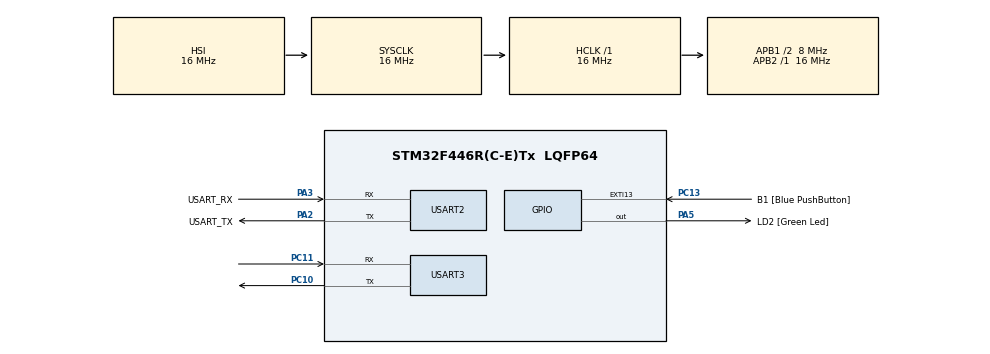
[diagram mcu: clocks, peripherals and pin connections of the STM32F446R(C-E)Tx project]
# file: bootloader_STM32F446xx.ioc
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Mcu.Family=STM32F4
Mcu.Name=STM32F446R(C-E)Tx
Mcu.Package=LQFP64
NVIC.PriorityGroup=NVIC_PRIORITYGROUP_0
PA13.GPIO_Label=TMS
PA13.Mode=Serial_Wire
PA13.Signal=SYS_JTMS-SWDIO
PA14.GPIO_Label=TCK
PA14.Mode=Serial_Wire
PA14.Signal=SYS_JTCK-SWCLK
PA2.GPIO_Label=USART_TX
PA2.Mode=Asynchronous
PA2.Signal=USART2_TX
PA3.GPIO_Label=USART_RX
PA3.Mode=Asynchronous
PA3.Signal=USART2_RX
PA5.GPIO_Label=LD2 [Green Led]
PA5.Signal=GPIO_Output
PB3.GPIO_Label=SWO
PB3.Signal=SYS_JTDO-SWO
PC10.Mode=Asynchronous
PC10.Signal=USART3_TX
PC11.Mode=Asynchronous
PC11.Signal=USART3_RX
PC13.GPIO_Label=B1 [Blue PushButton]
PC13.GPIO_ModeDefaultEXTI=GPIO_MODE_IT_FALLING
PC13.Signal=GPXTI13
PC14-OSC32_IN.Signal=RCC_OSC32_IN
PC15-OSC32_OUT.Signal=RCC_OSC32_OUT
PH0-OSC_IN.Signal=RCC_OSC_IN
PH1-OSC_OUT.Signal=RCC_OSC_OUT
ProjectManager.HeapSize=0x200
ProjectManager.StackSize=0x400
ProjectManager.TargetToolchain=MDK-ARM V5.27
RCC.48MHZClocksFreq_Value=84000000
RCC.AHBFreq_Value=16000000
RCC.APB1CLKDivider=RCC_HCLK_DIV2
RCC.APB1Freq_Value=8000000
RCC.APB1TimFreq_Value=16000000
RCC.APB2Freq_Value=16000000
RCC.APB2TimFreq_Value=16000000
RCC.CortexFreq_Value=16000000
RCC.FLatency-AdvancedSettings=FLASH_LATENCY_0
RCC.HCLKFreq_Value=16000000
RCC.HSE_VALUE=8000000
RCC.HSI_VALUE=16000000
RCC.PLLN=336
RCC.PLLP=RCC_PLLP_DIV4
RCC.SYSCLKFreq_VALUE=16000000
RCC.USBFreq_Value=168000000
RCC.VCOOutputFreq_Value=336000000
USART2.VirtualMode=VM_ASYNC
USART3.VirtualMode=VM_ASYNC
VP_CRC_VS_CRC.Mode=CRC_Activate
board=NUCLEO-F446RE

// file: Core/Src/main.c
/* USER CODE BEGIN Header */
/**
  ******************************************************************************
  * @file           : main.c
  * @brief          : Main program body
  ******************************************************************************
  * @attention
  *
  * <h2><center>&copy; Copyright (c) 2021 STMicroelectronics.
  * All rights reserved.</center></h2>
  *
  * This software component is licensed by ST under BSD 3-Clause license,
  * the "License"; You may not use this file except in compliance with the
  * License. You may obtain a copy of the License at:
  *                        opensource.org/licenses/BSD-3-Clause
  *
  ******************************************************************************
  */
/* USER CODE END Header */
#include <stdarg.h>
#include <string.h>
#include <stdio.h>
#include <stdint.h>

/* USER CODE BEGIN Includes */
#include "main.h"

/* USER CODE END Includes */

/* USER CODE BEGIN PM */
//enable this line to get debug messages over debug uart
//#define BL_DEBUG_MSG_EN

/* USER CODE END PM */

/* USER CODE BEGIN PV */
CRC_HandleTypeDef hcrc;

UART_HandleTypeDef huart2;
UART_HandleTypeDef huart3;

#define D_UART &huart3
#define C_UART &huart2

uint8_t supported_commands[] = {
																BL_GET_VER,
																BL_GET_HELP,
																BL_GET_CID,
																BL_GET_RDP_STATUS,
																BL_GO_TO_ADDR,
																BL_FLASH_ERASE,
																BL_MEM_WRITE,
																BL_READ_SECTOR_P_STATUS };

/* USER CODE END PV */

void SystemClock_Config(void);
static void MX_GPIO_Init(void);
static void MX_USART2_UART_Init(void);
static void MX_CRC_Init(void);
static void MX_USART3_UART_Init(void);

/* USER CODE BEGIN PFP */
static void printmsg(char *format, ...);
/* USER CODE END PFP */

/* USER CODE BEGIN 0 */
char somedata[] = "Hello from Bootloader\r\n";

#define BL_RX_LEN 200
uint8_t bl_rx_buffer[BL_RX_LEN];

/* USER CODE END 0 */

int main(void)
{

  /* MCU Configuration--------------------------------------------------------*/

  /* Reset of all peripherals, Initializes the Flash interface and the Systick. */
  HAL_Init();

  /* Configure the system clock */
  SystemClock_Config();

  /* Initialize all configured peripherals */
  MX_GPIO_Init();
  MX_USART2_UART_Init();
  MX_CRC_Init();
  MX_USART3_UART_Init();
  /* USER CODE BEGIN 2 */

	if(HAL_GPIO_ReadPin(B1_GPIO_Port, B1_Pin) == GPIO_PIN_RESET) {
		printmsg("BL_DEBUG_MSG: Button is pressed .. going to BL mode\n\r");
		//we should continue in bootloader mode
		bootloader_uart_read_data();

	} else {
		printmsg("BL_DEBUG_MSG: Button is not pressed .. executing user app\n\r");
		bootloader_jump_to_user_app();
	}
}

void bootloader_uart_read_data(void) {

	uint8_t rcv_len = 0;

	while(1) {
		memset(bl_rx_buffer, 0, 200);

		//here we will read and decode the commands coming from host

		//Read first byte (Length) of data packet
		HAL_UART_Receive(C_UART, bl_rx_buffer, 1, HAL_MAX_DELAY);
		rcv_len = bl_rx_buffer[0];

		//Read the rest of the data packet
		HAL_UART_Receive(C_UART, &bl_rx_buffer[1], rcv_len, HAL_MAX_DELAY);

		//command codes
		switch(bl_rx_buffer[1]) {
			case BL_GET_VER:
				bootloader_handle_getver(bl_rx_buffer);
				break;

			case BL_GET_HELP:
				bootloader_handle_gethelp(bl_rx_buffer);
				break;

			case BL_GET_CID:
				bootloader_handle_getcid(bl_rx_buffer);
				break;

			case BL_GET_RDP_STATUS:
				bootloader_handle_getrdp(bl_rx_buffer);
				break;

			case BL_GO_TO_ADDR:
				bootloader_handle_go_to_addr(bl_rx_buffer);
				break;

			case BL_FLASH_ERASE:
				bootloader_handle_flash_erase(bl_rx_buffer);
				break;

			case BL_MEM_WRITE:
				bootloader_handle_mem_write(bl_rx_buffer);
				break;

			case BL_EN_RW_PROTECT:
				bootloader_handle_en_rw_protect(bl_rx_buffer);
				break;

			case BL_DIS_RW_PROTECT:
				bootloader_handle_dis_rw_protect(bl_rx_buffer);
				break;

			case BL_MEM_READ:
				bootloader_handle_mem_read(bl_rx_buffer);
				break;

			case BL_READ_SECTOR_P_STATUS:
				bootloader_handle_read_sector_protection_status(bl_rx_buffer);
				break;

			case BL_OTP_READ:
				bootloader_handle_read_otp(bl_rx_buffer);
				break;

			default:
				printmsg("BL_DEBUG_MSG: Invalid command code received from host\n\r");
				break;
		}
	}
}

void bootloader_jump_to_user_app(void) {
	//just a function pointer to hold the address of the reset handler of the user app
	void (*app_reset_handler)(void);
	printmsg("BL_DEBUG_MSG: bootloader_jump_to_user_app\n\r");

	//1. configure the MSP by reading the value from the base address of Sector 2
	uint32_t msp_value = *(volatile uint32_t*)FLASH_SECTOR2_BASE_ADDRESS;
	printmsg("BL_DEBUG_MSG: MSP value : %#x\n\r", msp_value);

	//This function comes from CMSIS
	__set_MSP(msp_value);

	//SCB->VTOR = FLASH_SECTOR1_BASE_ADDRESS

	//2. Now fetch the reset handler address of the user application from the location FLASH_SECTOR2_BASE_ADDRESS+4
	uint32_t resethandler_address = *(volatile uint32_t*)(FLASH_SECTOR2_BASE_ADDRESS + 4);
	app_reset_handler = (void*)resethandler_address;
	printmsg("BL_DEBUG_MSG: app reset handler addr : %#x\n\r", app_reset_handler);

	//3. jump to the reset handler of the user application
	app_reset_handler();

}

/* prints formatted string to console over UART */
void printmsg(char *format, ...) {
#ifdef BL_DEBUG_MSG_EN
	char str[80];

	/* Extract the argument list using VA APIs */
	va_list args;
	va_start(args, format);
	vsprintf(str, format, args);
	HAL_UART_Transmit(D_UART, (uint8_t*)str, strlen(str), HAL_MAX_DELAY);
	va_end(args);
#endif
}

void SystemClock_Config(void)
{
  RCC_OscInitTypeDef RCC_OscInitStruct = {0};
  RCC_ClkInitTypeDef RCC_ClkInitStruct = {0};

  /** Configure the main internal regulator output voltage
  */
  __HAL_RCC_PWR_CLK_ENABLE();
  __HAL_PWR_VOLTAGESCALING_CONFIG(PWR_REGULATOR_VOLTAGE_SCALE3);
  /** Initializes the RCC Oscillators according to the specified parameters
  * in the RCC_OscInitTypeDef structure.
  */
  RCC_OscInitStruct.OscillatorType = RCC_OSCILLATORTYPE_HSI;
  RCC_OscInitStruct.HSIState = RCC_HSI_ON;
  RCC_OscInitStruct.HSICalibrationValue = RCC_HSICALIBRATION_DEFAULT;
  RCC_OscInitStruct.PLL.PLLState = RCC_PLL_NONE;
  if (HAL_RCC_OscConfig(&RCC_OscInitStruct) != HAL_OK)
  {
    Error_Handler();
  }
  /** Initializes the CPU, AHB and APB buses clocks
  */
  RCC_ClkInitStruct.ClockType = RCC_CLOCKTYPE_HCLK|RCC_CLOCKTYPE_SYSCLK
                              |RCC_CLOCKTYPE_PCLK1|RCC_CLOCKTYPE_PCLK2;
  RCC_ClkInitStruct.SYSCLKSource = RCC_SYSCLKSOURCE_HSI;
  RCC_ClkInitStruct.AHBCLKDivider = RCC_SYSCLK_DIV1;
  RCC_ClkInitStruct.APB1CLKDivider = RCC_HCLK_DIV2;
  RCC_ClkInitStruct.APB2CLKDivider = RCC_HCLK_DIV1;

  if (HAL_RCC_ClockConfig(&RCC_ClkInitStruct, FLASH_LATENCY_0) != HAL_OK)
  {
    Error_Handler();
  }
}

static void MX_CRC_Init(void)
{

  hcrc.Instance = CRC;
  if (HAL_CRC_Init(&hcrc) != HAL_OK)
  {
    Error_Handler();
  }

}

static void MX_USART2_UART_Init(void)
{

  huart2.Instance = USART2;
  huart2.Init.BaudRate = 115200;
  huart2.Init.WordLength = UART_WORDLENGTH_8B;
  huart2.Init.StopBits = UART_STOPBITS_1;
  huart2.Init.Parity = UART_PARITY_NONE;
  huart2.Init.Mode = UART_MODE_TX_RX;
  huart2.Init.HwFlowCtl = UART_HWCONTROL_NONE;
  huart2.Init.OverSampling = UART_OVERSAMPLING_16;
  if (HAL_UART_Init(&huart2) != HAL_OK)
  {
    Error_Handler();
  }

}

static void MX_USART3_UART_Init(void)
{

  huart3.Instance = USART3;
  huart3.Init.BaudRate = 115200;
  huart3.Init.WordLength = UART_WORDLENGTH_8B;
  huart3.Init.StopBits = UART_STOPBITS_1;
  huart3.Init.Parity = UART_PARITY_NONE;
  huart3.Init.Mode = UART_MODE_TX_RX;
  huart3.Init.HwFlowCtl = UART_HWCONTROL_NONE;
  huart3.Init.OverSampling = UART_OVERSAMPLING_16;
  if (HAL_UART_Init(&huart3) != HAL_OK)
  {
    Error_Handler();
  }

}

static void MX_GPIO_Init(void)
{
  GPIO_InitTypeDef GPIO_InitStruct = {0};

  /* GPIO Ports Clock Enable */
  __HAL_RCC_GPIOC_CLK_ENABLE();
  __HAL_RCC_GPIOH_CLK_ENABLE();
  __HAL_RCC_GPIOA_CLK_ENABLE();
  __HAL_RCC_GPIOB_CLK_ENABLE();

  /*Configure GPIO pin Output Level */
  HAL_GPIO_WritePin(LD2_GPIO_Port, LD2_Pin, GPIO_PIN_RESET);

  /*Configure GPIO pin : B1_Pin */
  GPIO_InitStruct.Pin = B1_Pin;
  GPIO_InitStruct.Mode = GPIO_MODE_IT_FALLING;
  GPIO_InitStruct.Pull = GPIO_NOPULL;
  HAL_GPIO_Init(B1_GPIO_Port, &GPIO_InitStruct);

  /*Configure GPIO pin : LD2_Pin */
  GPIO_InitStruct.Pin = LD2_Pin;
  GPIO_InitStruct.Mode = GPIO_MODE_OUTPUT_PP;
  GPIO_InitStruct.Pull = GPIO_NOPULL;
  GPIO_InitStruct.Speed = GPIO_SPEED_FREQ_LOW;
  HAL_GPIO_Init(LD2_GPIO_Port, &GPIO_InitStruct);

}

void Error_Handler(void)
{
  __disable_irq();
  while (1)
  {
  }
}

/******************** Implementation of Bootloader Command Handle Functions ********************/

/* Helper function to handle BL_GET_VER command */
void bootloader_handle_getver(uint8_t *bl_rx_buffer) {
	uint8_t bl_version;

	//1. Verify the Checksum
	printmsg("BL_DEBUG_MSG: bootloader_handle_getver\n\r");

	//Total length of the command packet
	uint32_t command_packet_len = bl_rx_buffer[0] + 1;

	//Extract the CRC32 sent by the host
	uint32_t host_crc = *((uint32_t *) (bl_rx_buffer + command_packet_len - 4));

	if(!bootloader_verify_crc(&bl_rx_buffer[0], command_packet_len - 4, host_crc)) {
		printmsg("BL_DEBUG_MSG: checksum success!!\n\r");
		//checksum is correct
		bootloader_send_ack(bl_rx_buffer[0], 1);
		bl_version = get_bootloader_version();
		printmsg("BL_DEBUG_MSG: BL_VER: %d %#x\n\r", bl_version, bl_version);
		bootloader_uart_write_data(&bl_version, 1);
	} else {
		printmsg("BL_DEBUG_MSG: checksum fail!!\n\r");
		//checksum is wrong
		bootloader_send_nack();
	}
}

/* Helper function to handle BL_GET_HELP command */
void bootloader_handle_gethelp(uint8_t *bl_rx_buffer) {

	printmsg("BL_DEBUG_MSG: bootloader_handle_gethelp\n\r");

	//Total length of the command packet
	uint32_t command_packet_len = bl_rx_buffer[0] + 1;

	//Extract the CRC32 sent by the Host
	uint32_t host_crc = *((uint32_t *) (bl_rx_buffer + command_packet_len - 4));

	if(!bootloader_verify_crc(&bl_rx_buffer[0], command_packet_len - 4, host_crc)) {
		printmsg("BL_DEBUG_MSG: checksum success!!\n\r");
		bootloader_send_ack(bl_rx_buffer[0], sizeof(supported_commands));
		bootloader_uart_write_data(supported_commands, sizeof(supported_commands));
	} else {
		printmsg("BL_DEBUG_MSG: checksum fail!!\n\r");
		bootloader_send_nack();
	}
}

/* Helper function to handle BL_GET_CID command */
void bootloader_handle_getcid(uint8_t *bl_rx_buffer) {

	uint16_t bl_cid = 0;
	printmsg("BL_DEBUG_MSG: bootloader_handle_getcid\n\r");

	//Total length of the command packet
	uint32_t command_packet_len = bl_rx_buffer[0] + 1;

	//Extract the CRC32 sent by the Host
	uint32_t host_crc = *((uint32_t *) (bl_rx_buffer + command_packet_len - 4));

	if(!bootloader_verify_crc(&bl_rx_buffer[0], command_packet_len - 4, host_crc)) {
		printmsg("BL_DEBUG_MSG: checksum success!!\n\r");
		bootloader_send_ack(bl_rx_buffer[0], 2);
		bl_cid = get_mcu_chip_id();
		printmsg("BL_DEBUG_MSG: MCU id: #d %#x !!\n\r", bl_cid, bl_cid);
		bootloader_uart_write_data((uint8_t *)&bl_cid, 2);
	} else {
		printmsg("BL_DEBUG_MSG: checksum fail!!\n\r");
		bootloader_send_nack();
	}
}

/* Helper function to handle BL_GET_RDP_STATUS command */
void bootloader_handle_getrdp(uint8_t *bl_rx_buffer) {

	uint8_t rdp_level = 0x00;
	printmsg("BL_DEBUG_MSG: bootloader_handle_getrdp\n\r");

	//Total length of the command packet
	uint32_t command_packet_len = bl_rx_buffer[0] + 1;

	//Extract the CRC32 sent by the Host
	uint32_t host_crc = *((uint32_t *) (bl_rx_buffer + command_packet_len - 4));

	if(!bootloader_verify_crc(&bl_rx_buffer[0], command_packet_len - 4, host_crc)) {
		printmsg("BL_DEBUG_MSG: checksum success!!\n\r");
		bootloader_send_ack(bl_rx_buffer[0], 1);
		rdp_level = get_flash_rdp_level();
		printmsg("BL_DEBUG_MSG: RDP Level: #d %#x !!\n\r", rdp_level, rdp_level);
		bootloader_uart_write_data(&rdp_level, 1);
	} else {
		printmsg("BL_DEBUG_MSG: checksum fail!!\n\r");
		bootloader_send_nack();
	}
}

/* Helper function to handle BL_GO_TO_ADDR command */
void bootloader_handle_go_to_addr(uint8_t *bl_rx_buffer) {

	uint32_t go_to_address = 0;
	uint8_t addr_valid = ADDR_VALID;
	uint8_t addr_invalid = ADDR_INVALID;

	printmsg("BL_DEBUG_MSG: bootloader_handle_go_to_addr\n\r");

	//Total length of the command packet
	uint32_t command_packet_len = bl_rx_buffer[0] + 1;

	//Extract the CRC32 sent by the Host
	uint32_t host_crc = *((uint32_t *) (bl_rx_buffer + command_packet_len - 4));

	if(!bootloader_verify_crc(&bl_rx_buffer[0], command_packet_len - 4, host_crc)) {
		printmsg("BL_DEBUG_MSG: checksum success!!\n\r");
		bootloader_send_ack(bl_rx_buffer[0], 1);

		//Extract the Go-To Address
		go_to_address = *((uint32_t *)&bl_rx_buffer[2]);
		printmsg("BL_DEBUG_MSG: Go-To Addr: %#x !!\n\r", go_to_address);

		if(verify_address(go_to_address) == ADDR_VALID) {
			//Inform host that address is valid
			bootloader_uart_write_data(&addr_valid,1);

			/* jump to "go-to" address.
			The host must ensure that valid code is present at the destination
			It is not the duty of the bootloader to verify that, so just trust it is correct and jump */

			/* Not doing the below line will result in hardfault exception for ARM cortex M */
			//watch : https://www.youtube.com/watch?v=VX_12SjnNhY
			go_to_address += 1; //Make T-bit = 1 otherwise hardfault exception

			void (*lets_jump)(void) = (void *)go_to_address;
			printmsg("BL_DEBUG_MSG: now jumping to go-to address!\n\r");
			lets_jump();

		} else {
			printmsg("BL_DEBUG_MSG: go-to address invalid! \n\r");
			//tell host that address is invalid
			bootloader_uart_write_data(&addr_invalid, 1);
		}

	} else {
		printmsg("BL_DEBUG_MSG: checksum fail!!\n\r");
		bootloader_send_nack();
	}
}

/* Helper function to handle BL_FLASH_ERASE command */
void bootloader_handle_flash_erase(uint8_t *bl_rx_buffer) {

	uint8_t erase_status = 0x00;
	printmsg("BL_DEBUG_MSG: bootloader_handle_flash_erase\n\r");

	//Total length of the command packet
	uint32_t command_packet_len = bl_rx_buffer[0] + 1;

	//Extract the CRC32 sent by the Host
	uint32_t host_crc = *((uint32_t *) (bl_rx_buffer + command_packet_len - 4));

	if(!bootloader_verify_crc(&bl_rx_buffer[0], command_packet_len - 4, host_crc)) {
		printmsg("BL_DEBUG_MSG: checksum success!!\n\r");
		bootloader_send_ack(bl_rx_buffer[0], 1);
		printmsg("BL_DEBUG_MSG: initial_sector: %d no_of_sectors: %d\n\r", bl_rx_buffer[2], bl_rx_buffer[3]);

		HAL_GPIO_WritePin(LD2_GPIO_Port, LD2_Pin, 1);
		erase_status = execute_flash_erase(bl_rx_buffer[2], bl_rx_buffer[3]);
		HAL_GPIO_WritePin(LD2_GPIO_Port, LD2_Pin, 0);

		printmsg("BL_DEBUG_MSG: flash erase status: %#x\n\r", erase_status);

		bootloader_uart_write_data(&erase_status, 1);

	} else {
		printmsg("BL_DEBUG_MSG: checksum fail!!\n\r");
		bootloader_send_nack();
	}
}

/* Helper function to handle BL_MEM_WRITE command */
void bootloader_handle_mem_write(uint8_t *bl_rx_buffer) {

	uint8_t addr_valid = ADDR_VALID;
	uint8_t write_status = 0x00;
	uint8_t chksum = 0, len = 0;
	len = bl_rx_buffer[0];
	uint8_t payload_len = bl_rx_buffer[6];

	uint32_t mem_address = *((uint32_t *)(&bl_rx_buffer[2]));

	chksum = bl_rx_buffer[len];

	printmsg("BL_DEBUG_MSG: bootloader_handle_mem_write\n\r");

	//Total length of the command packet
	uint32_t command_packet_len = bl_rx_buffer[0] + 1;

	//Extract the CRC32 sent by the Host
	uint32_t host_crc = *((uint32_t *)(bl_rx_buffer + command_packet_len - 4));

	if(!bootloader_verify_crc(&bl_rx_buffer[0], command_packet_len - 4, host_crc)) {

		printmsg("BL_DEBUG_MSG: checksum success!!\n\r");
		bootloader_send_ack(bl_rx_buffer[0], 1);
		printmsg("BL_DEBUG_MSG: mem write address: %#x\n\r", mem_address);

		if(verify_address(mem_address) == ADDR_VALID) {
			printmsg("BL_DEBUG_MSG: valid mem write address\n\r");

			//Turn on the LED to indicate that the bootloader is currently writing to memory
			HAL_GPIO_WritePin(LD2_GPIO_Port, LD2_Pin, GPIO_PIN_SET);

			//Execute mem write
			write_status = execute_mem_write(&bl_rx_buffer[7], mem_address, payload_len);

			//Turn off the LED to indicate memory write is over
			HAL_GPIO_WritePin(LD2_GPIO_Port, LD2_Pin, GPIO_PIN_RESET);

			//Inform the Host about the status
			bootloader_uart_write_data(&write_status, 1);

		} else {
			printmsg("BL_DEBUG_MSG: invalid mem write address\n\r");
			write_status = ADDR_INVALID;
			//Inform the Host that address is invalid
			bootloader_uart_write_data(&write_status, 1);
		}

	} else {
		printmsg("BL_DEBUG_MSG: checksum fail!!\n\r");
		bootloader_send_nack();
	}
}

/* Helper function to handle BL_EN_RW_PROTECT command */
void bootloader_handle_en_rw_protect(uint8_t *bl_rx_buffer) {

	uint8_t status = 0x00;
	printmsg("BL_DEBUG_MSG: bootloader_handle_en_rw_protect\n\r");

	//Total length of the command packet
	uint32_t command_packet_len = bl_rx_buffer[0] + 1;

	//Extract the CRC32 sent by the Host
	uint32_t host_crc = *((uint32_t *)(bl_rx_buffer + command_packet_len - 4));

	if(!bootloader_verify_crc(&bl_rx_buffer[0], command_packet_len - 4, host_crc)) {
		printmsg("BL_DEBUG_MSG: checksum success!!\n\r");
		bootloader_send_ack(bl_rx_buffer[0], 1);

		status = configure_flash_sector_rw_protection(bl_rx_buffer[2], bl_rx_buffer[3], 0);
		printmsg("BL_DEBUG_MSG: flash erase status: %#x\n\r", status);
		bootloader_uart_write_data(&status, 1);

	} else {
    printmsg("BL_DEBUG_MSG: checksum fail!!\n\r");
    bootloader_send_nack();
	}
}

/* Helper function to handle BL_DIS_RW_PROTECT command */
void bootloader_handle_dis_rw_protect(uint8_t *bl_rx_buffer) {

	uint8_t status = 0x00;
	printmsg("BL_DEBUG_MSG: bootloader_handle_dis_rw_protect\n\r");

	//Total length of the command packet
	uint32_t command_packet_len = bl_rx_buffer[0] + 1;

	//Extract the CRC32 sent by the Host
	uint32_t host_crc = *((uint32_t *)(bl_rx_buffer + command_packet_len - 4));

	if(!bootloader_verify_crc(&bl_rx_buffer[0], command_packet_len - 4, host_crc)) {
		printmsg("BL_DEBUG_MSG: checksum success!!\n\r");
		bootloader_send_ack(bl_rx_buffer[0], 1);

		status = configure_flash_sector_rw_protection(0, 0, 1);
		printmsg("BL_DEBUG_MSG: flash erase status: %#x\n\r", status);
		bootloader_uart_write_data(&status, 1);

	} else {
    printmsg("BL_DEBUG_MSG: checksum fail!!\n\r");
    bootloader_send_nack();
	}
}

/* Helper function to handle BL_MEM_READ command */
void bootloader_handle_mem_read(uint8_t *bl_rx_buffer) {

}

/* Helper function to handle BL_READ_SECTOR_P_STATUS command */
void bootloader_handle_read_sector_protection_status(uint8_t *bl_rx_buffer) {

	uint16_t status;
	printmsg("BL_DEBUG_MSG: bootloader_handle_read_sector_protection_status\n\r");

	//Total length of the command packet
	uint32_t command_packet_len = bl_rx_buffer[0] + 1;

	//Extract the CRC32 sent by the Host
	uint32_t host_crc = *((uint32_t *)(bl_rx_buffer + command_packet_len - 4));

	if(!bootloader_verify_crc(&bl_rx_buffer[0], command_packet_len - 4, host_crc)) {
		printmsg("BL_DEBUG_MSG: checksum success!!\n\r");
		bootloader_send_ack(bl_rx_buffer[0], 2);

		status = read_OB_rw_protection_status();
		printmsg("BL_DEBUG_MSG: nWRP status: %#x\n\r", status);
		bootloader_uart_write_data((uint8_t *)&status, 2);

	} else {
    printmsg("BL_DEBUG_MSG: checksum fail!!\n\r");
    bootloader_send_nack();
	}
}

/* Helper function to handle BL_OTP_READ command */
void bootloader_handle_read_otp(uint8_t *bl_rx_buffer) {

}

/* Sends ACK if CRC matches along with "len to follow" */
void bootloader_send_ack(uint8_t command_code, uint8_t follow_len) {

	//Send 2 bytes.. 1st byte is ACK and the 2nd byte is "length to follow"
	uint8_t ack_buf[2];
	ack_buf[0] = BL_ACK;
	ack_buf[1] = follow_len;
	HAL_UART_Transmit(C_UART, ack_buf, 2, HAL_MAX_DELAY);
}

void bootloader_send_nack(void) {
	uint8_t nack = BL_NACK;
	HAL_UART_Transmit(C_UART, &nack, 1, HAL_MAX_DELAY);
}

/* Verifies the CRC of the given buffer in pData */
uint8_t bootloader_verify_crc(uint8_t *pData, uint32_t len, uint32_t crc_host) {

	uint32_t uwCRCValue = 0xFF;

	for(uint32_t i = 0; i < len; i++) {
		uint32_t i_data = pData[i];
		uwCRCValue = HAL_CRC_Accumulate(&hcrc, &i_data, 1);
	}

	/* Reset CRC Calculation Unit */
	__HAL_CRC_DR_RESET(&hcrc);

	if(uwCRCValue == crc_host) {
		return VERIFY_CRC_SUCCESS;
	}

	return VERIFY_CRC_FAIL;
}

/* Writes Data into C_UART */
void bootloader_uart_write_data(uint8_t *pBuffer, uint32_t len) {

	HAL_UART_Transmit(C_UART, pBuffer, len, HAL_MAX_DELAY);
}

uint8_t get_bootloader_version(void) {

	return (uint8_t)BL_VERSION;
}

//Read the Chip or Device ID
uint16_t get_mcu_chip_id(void) {
	/*
	 * The STM32F446xx MCUs integrate an MCU ID code. This ID identifies the ST MCU partnumber
	 * and the die revision. It is part of the DBG_MCU component and is mapped on the
	 * external PPB bus (see Section 33.16 on page 1304). This code is accessible using the
	 * JTAG debug pCat.2ort (4 to 5 pins) or the SW debug port (two pins) or by the user software.
	 * It is even accessible while the MCU is under system reset. */
	uint16_t cid;
	cid = (uint16_t)(DBGMCU->IDCODE) & 0x0FFF;
	return cid;
}

uint8_t get_flash_rdp_level(void) {

	uint8_t rdp_status = 0;

#if 0
	//HAL / ST library APIs
	FLASH_OBProgramInitTypeDef ob_handle;
	HAL_FLASHEx_OBGetConfig(&ob_handle);
	rdp_status = (uint8_t)ob_handle.RDPLevel;

#else
	volatile uint32_t *pOB_addr = (uint32_t*) 0x1FFFC000;
	rdp_status = (uint8_t)(*pOB_addr >> 8);

#endif

	return rdp_status;
}

uint8_t verify_address(uint32_t go_to_address) {
	/* Valid addresses:
	 * System Memory (ROM), SRAM1, SRAM2, Backup SRAM,
	 * Peripheral Memory (possible but not allowing that feature),
	 * External Memory */

	if((go_to_address >= SRAM1_BASE) && (go_to_address <= SRAM1_END)) {
		return ADDR_VALID;

	} else if((go_to_address >= SRAM2_BASE) && (go_to_address <= SRAM2_END)) {
		return ADDR_VALID;

	} else if((go_to_address >= FLASH_BASE) && (go_to_address <= FLASH_END)) {
		return ADDR_VALID;

	} else if((go_to_address >= BKPSRAM_BASE) && (go_to_address <= BKPSRAM_END)) {
		return ADDR_VALID;

	} else {
		return ADDR_INVALID;
	}
}

uint8_t execute_flash_erase(uint8_t sector_number, uint8_t number_of_sectors) {
	//There are 8 sectors in STM32F446RE MCU (Sector[0:7])
	//number_of_sectors must be in the range of 0 to 7
	//if sector_number = 0xFF, that means mass erase

	FLASH_EraseInitTypeDef flashErase_handle;
	uint32_t sectorError;
	HAL_StatusTypeDef status;

	if(number_of_sectors > 8)
		return INVALID_SECTOR;

	if((sector_number == 0xFF) || (sector_number <= 7)) {

		if(sector_number == (uint8_t) 0xFF) {
			flashErase_handle.TypeErase = FLASH_TYPEERASE_MASSERASE;

		} else {
			//Calculate how many sectors need to be erased
			uint8_t remaining_sector = 8 - sector_number;

			if(number_of_sectors > remaining_sector) {
				number_of_sectors = remaining_sector;
			}

			flashErase_handle.TypeErase = FLASH_TYPEERASE_SECTORS;
			flashErase_handle.Sector = sector_number; //The initial sector
			flashErase_handle.NbSectors = number_of_sectors;
		}

		flashErase_handle.Banks = FLASH_BANK_1;

		//Gain access to modify the FLASH registers
		HAL_FLASH_Unlock();
		flashErase_handle.VoltageRange = FLASH_VOLTAGE_RANGE_3;
		status = (uint8_t) HAL_FLASHEx_Erase(&flashErase_handle, &sectorError);
		HAL_FLASH_Lock();

		return status;
	}

	return INVALID_SECTOR;
}

/* Writes the contents of pBuffer to "mem_address" byte by byte */
//Note1 : Currently this function supports writing to Flash only.
//Note2 : This function doesn't check whether "mem_address" is a valid address of the Flash memory
uint8_t execute_mem_write(uint8_t *pBuffer, uint32_t mem_address, uint32_t len) {

	uint8_t status = HAL_OK;

	//Unlock flash module to gain control of registers
	HAL_FLASH_Unlock();

	for(uint32_t i = 0; i < len; i++) {
		//Program the flash byte by byte
		status = HAL_FLASH_Program(FLASH_TYPEPROGRAM_BYTE, mem_address + i, pBuffer[i]);
	}

	HAL_FLASH_Lock();

	return status;
}

/*
Modifying user option bytes
To modify the user option value, follow the sequence below:
1. Check that no Flash memory operation is ongoing by checking the BSY bit in the
FLASH_SR register
2. Write the desired option value in the FLASH_OPTCR register.
3. Set the option start bit (OPTSTRT) in the FLASH_OPTCR register
4. Wait for the BSY bit to be cleared.
*/
uint8_t configure_flash_sector_rw_protection(uint8_t sector_details, uint8_t protection_mode, uint8_t disable) {
	//First configure the protection mode
	//protection_mode = 1, means write protect of the user flash sectors
	//protection_mode = 2, means read/write protect of the user flash sectors
	//According to RM of stm32f446xx TABLE 9, We have to modify the address 0x1FFF C008 bit 15(SPRMOD)

	//Flash option control register (OPTCR)
	volatile uint32_t *pOPTCR = (uint32_t *) 0x40023C14;

	if(disable) {
	//DISABLE all r/w protection on sectors
		//Option byte configuration unlock
		HAL_FLASH_OB_Unlock();

		//Wait until no active operations on flash
		while(__HAL_FLASH_GET_FLAG(FLASH_FLAG_BSY) != RESET);

		//Clear the 31st bit (default state) - Refer to: Flash Option Control Register (FLASH_OPTCR) in RM
		*pOPTCR &= ~(1 << 31);

		//Clear the protection: Make all bits belonging to sectors as 1
		*pOPTCR |= (0xFF << 16);

		//Set the Option Start Bit (OPTSTRT) in the FLASH_OPTCR register
		*pOPTCR |= (1 << 1);

		//Wait until no active operations on flash
		while(__HAL_FLASH_GET_FLAG(FLASH_FLAG_BSY) != RESET);

		HAL_FLASH_OB_Lock();

		return 0;
	}

	if(protection_mode == (uint8_t) 1) {
	//Put Write Protection on the sectors encoded in sector_details argument
		//Option Byte Configuration unlock
		HAL_FLASH_OB_Unlock();

		//Wait until no active operations on flash
		while(__HAL_FLASH_GET_FLAG(FLASH_FLAG_BSY) != RESET);

		//Set Write Protection for the sectors
		//Clear the 31st bit (default state) - Refer to: Flash Option Control Register (FLASH_OPTCR) in RM
		*pOPTCR &= ~(1 << 31);

		//Set WP on sectors
		*pOPTCR &= ~(sector_details << 16);

		//Set the Option Start Bit (OPTSTRT) in the FLASH_OPTCR register
		*pOPTCR |= (1 << 1);

		//Wait until no active operations on flash
		while(__HAL_FLASH_GET_FLAG(FLASH_FLAG_BSY) != RESET);

		HAL_FLASH_OB_Lock();

	} else if(protection_mode == (uint8_t) 2) {
	//Put Read and Write Protections on the sectors encoded in sector_details argument
		//Option Byte Configuration unlock
		HAL_FLASH_OB_Unlock();

		//Wait until no active operations on flash
		while(__HAL_FLASH_GET_FLAG(FLASH_FLAG_BSY) != RESET);

		//Setting Read and Write Protections for the sectors
		//Set the 31st bit - Refer to: Flash Option Control Register (FLASH_OPTCR) in RM
		*pOPTCR |= (1 << 31);

		//Set R&W Protections on sectors
		*pOPTCR &= ~(0xFF << 16);
		*pOPTCR |= (sector_details << 16);

		//Set the Option Start Bit (OPTSTRT) in the FLASH_OPTCR register
		*pOPTCR |= (1 << 1);

		//Wait until no active operations on flash
		while(__HAL_FLASH_GET_FLAG(FLASH_FLAG_BSY) != RESET);

		HAL_FLASH_OB_Lock();
	}

	return 0;
}

uint16_t read_OB_rw_protection_status(void) {
	//This structure is defined in ST Flash driver to hold the OB(Option Byte) contents
	FLASH_OBProgramInitTypeDef OBInit;

	//Unlock the OB(Option Byte) memory access
	HAL_FLASH_OB_Unlock();
	//Get the OB configuration details
	HAL_FLASHEx_OBGetConfig(&OBInit);
	//Lock the OB memory access
	HAL_FLASH_OB_Lock();

	//Only interested in R/W protection status of the sectors
	return (uint16_t)OBInit.WRPSector;
}

/************************ (C) COPYRIGHT STMicroelectronics *****END OF FILE****/
